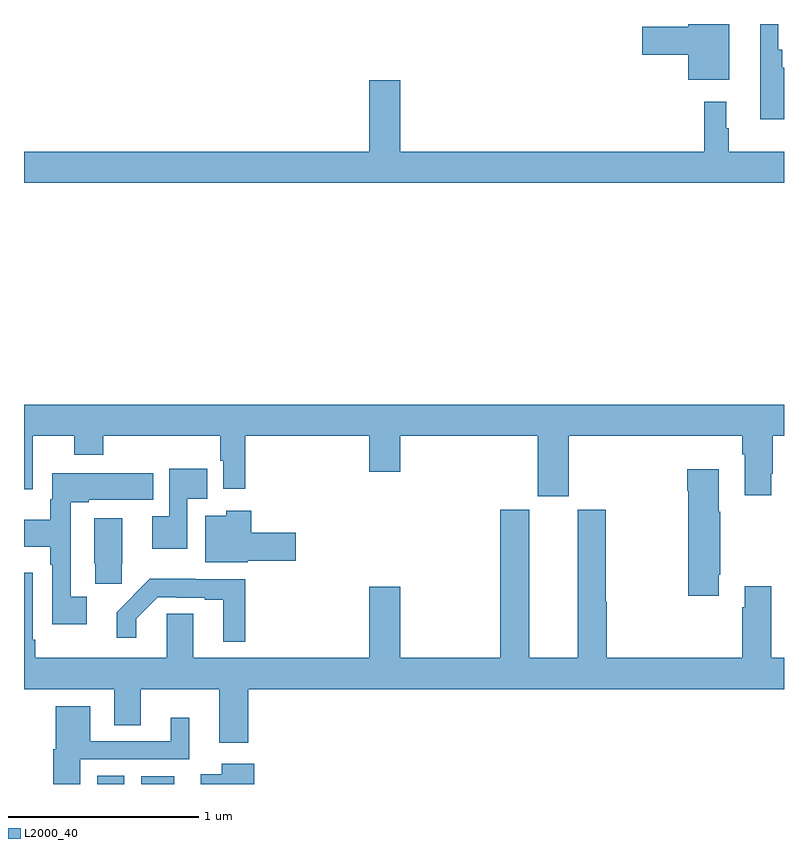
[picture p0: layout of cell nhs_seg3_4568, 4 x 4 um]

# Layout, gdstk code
import gdstk
lib = gdstk.Library(unit=1e-6, precision=1e-09)
def R(c, l, rs):  # rectangles x0, y0, x1, y1
    for r in rs: c.add(gdstk.rectangle(r[:2], r[2:], *l))
def P(c, l, *ps):  # polygons
    for p in ps: c.add(gdstk.Polygon(p, *l))
L2000_40 = (2000, 40)

nhs_seg3_4568 = lib.new_cell('nhs_seg3_4568')
R(nhs_seg3_4568, L2000_40, [(355.385,716.4,355.528,716.444), (355.616,716.4,355.792,716.44)])
P(nhs_seg3_4568, L2000_40, [(359,720.169),(358.991,720.169),(358.991,720.265),(358.971,720.265),(358.971,720.4),(358.874,720.4),(358.874,719.9),(359,719.9)],
  [(358.711,720.4),(358.496,720.4),(358.496,720.386),(358.254,720.386),(358.254,720.239),(358.496,720.239),(358.496,720.107),(358.711,720.107)],
  [(359,719.728),(358.708,719.728),(358.708,719.852),(358.696,719.852),(358.696,719.992),(358.579,719.992),(358.579,719.728),(356.98,719.728),(356.98,720.103),(356.816,720.103),(356.816,719.728),(355,719.728),(355,719.564),(359,719.564)],
  [(357.868,718.232),(358.781,718.232),(358.781,718.136),(358.793,718.136),(358.793,717.921),(358.933,717.921),(358.933,718.033),(358.941,718.033),(358.941,718.232),(359,718.232),(359,718.396),(355,718.396),(355,717.951),(355.047,717.951),(355.047,718.232),(355.265,718.232),(355.265,718.133),(355.418,718.133),(355.418,718.232),(356.033,718.232),(356.033,718.101),(356.049,718.101),(356.049,717.954),(356.165,717.954),(356.165,718.232),(356.816,718.232),(356.816,718.044),(356.98,718.044),(356.98,718.232),(357.704,718.232),(357.704,717.915),(357.868,717.915)],
  [(355.86,717.902),(355.964,717.902),(355.964,718.059),(355.764,718.059),(355.764,717.808),(355.676,717.808),(355.676,717.638),(355.86,717.638)],
  [(358.657,717.502),(358.665,717.502),(358.665,717.833),(358.657,717.833),(358.657,718.057),(358.49,718.057),(358.49,717.944),(358.495,717.944),(358.495,717.39),(358.657,717.39)],
  [(355.33,717.385),(355.245,717.385),(355.245,717.884),(355.342,717.884),(355.342,717.896),(355.679,717.896),(355.679,718.036),(355.149,718.036),(355.149,717.9),(355.137,717.9),(355.137,717.79),(355,717.79),(355,717.65),(355.137,717.65),(355.137,717.554),(355.149,717.554),(355.149,717.242),(355.33,717.242)],
  [(359,717.064),(358.933,717.064),(358.933,717.442),(358.793,717.442),(358.793,717.329),(358.781,717.329),(358.781,717.064),(358.067,717.064),(358.067,717.36),(358.062,717.36),(358.062,717.843),(357.914,717.843),(357.914,717.064),(357.658,717.064),(357.658,717.843),(357.506,717.843),(357.506,717.064),(356.98,717.064),(356.98,717.439),(356.816,717.439),(356.816,717.064),(355.891,717.064),(355.891,717.296),(355.751,717.296),(355.751,717.064),(355.06,717.064),(355.06,717.16),(355.047,717.16),(355.047,717.511),(355,717.511),(355,716.9),(355.475,716.9),(355.475,716.71),(355.615,716.71),(355.615,716.9),(356.027,716.9),(356.027,716.616),(356.18,716.616),(356.18,716.9),(359,716.9)],
  [(356.178,717.575),(356.431,717.575),(356.431,717.722),(356.195,717.722),(356.195,717.838),(356.064,717.838),(356.064,717.811),(355.955,717.811),(355.955,717.566),(356.178,717.566)],
  [(355.514,717.562),(355.516,717.562),(355.516,717.799),(355.37,717.799),(355.37,717.562),(355.374,717.562),(355.374,717.453),(355.514,717.453)],
  [(356.165,717.477),(355.902,717.477),(355.902,717.481),(355.663,717.481),(355.488,717.305),(355.488,717.171),(355.59,717.171),(355.59,717.27),(355.704,717.384),(355.804,717.384),(355.804,717.381),(355.952,717.381),(355.952,717.369),(356.048,717.369),(356.048,717.149),(356.165,717.149)],
  [(355.296,716.529),(355.87,716.529),(355.87,716.749),(355.772,716.749),(355.772,716.625),(355.348,716.625),(355.348,716.809),(355.166,716.809),(355.166,716.583),(355.154,716.583),(355.154,716.4),(355.296,716.4)],
  [(356.213,716.506),(356.042,716.506),(356.042,716.452),(355.931,716.452),(355.931,716.4),(356.213,716.4)])

lib.write_gds('nhs_seg3_4568.gds')
